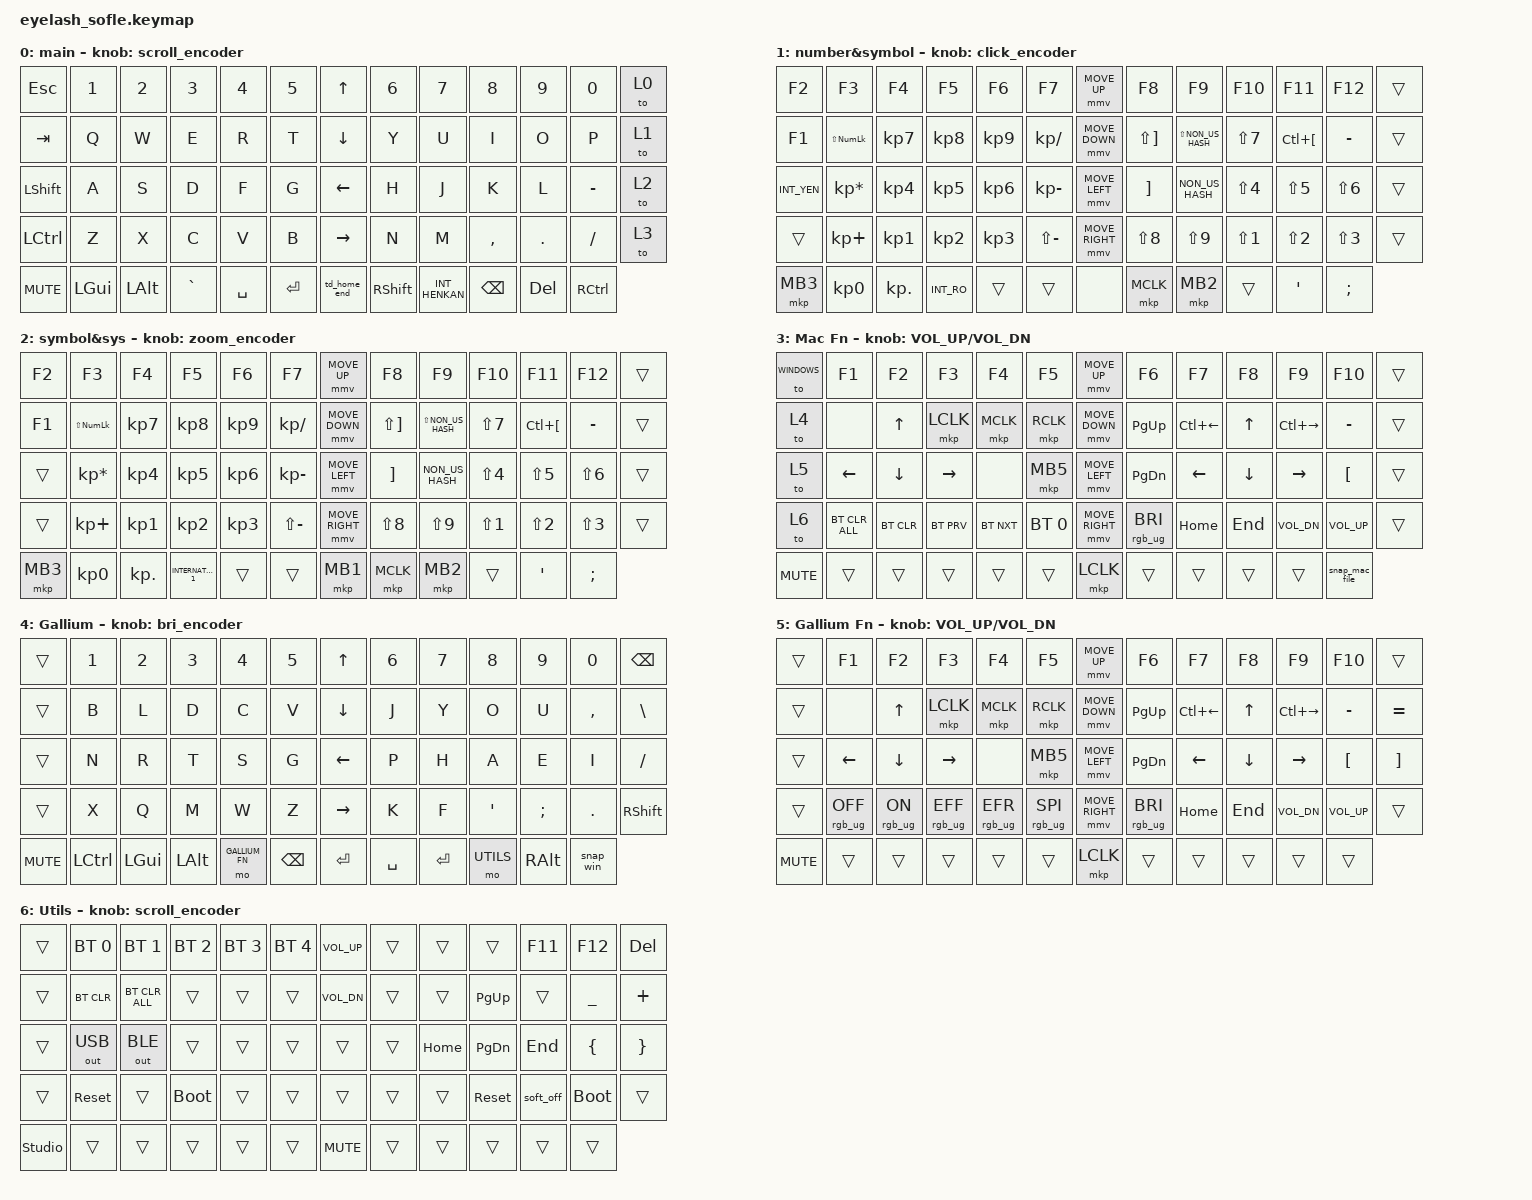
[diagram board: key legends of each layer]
#define ZMK_POINTING_DEFAULT_MOVE_VAL 1200  // 600
#define ZMK_POINTING_DEFAULT_SCRL_VAL 25   // 10

#include <input/processors.dtsi>
#include <zephyr/dt-bindings/input/input-event-codes.h>
#include <behaviors.dtsi>
#include <dt-bindings/zmk/bt.h>
#include <dt-bindings/zmk/keys.h>
#include <dt-bindings/zmk/outputs.h>
#include <dt-bindings/zmk/pointing.h>
#include <dt-bindings/zmk/rgb.h>

// Layer IDs

#define WINDOWS 0
#define WINDOWS_FN   1
#define MAC   2
#define MAC_FN   3
#define GALLIUM 4
#define GALLIUM_FN  5
#define UTILS 6

&mmv_input_listener { input-processors = <&zip_xy_scaler 2 1>; };

&msc_input_listener { input-processors = <&zip_scroll_scaler 2 1>; };

&msc {
    acceleration-exponent = <1>;      // 0
    time-to-max-speed-ms = <100>;     // 300
    delay-ms = <0>;                   // 0
};

&mmv {
    time-to-max-speed-ms = <500>;
    acceleration-exponent = <1>;
    trigger-period-ms = <16>;
};

&soft_off { hold-time-ms = <2000>; };

/ {
    scroll_encoder: scroll_encoder {
        compatible = "zmk,behavior-sensor-rotate";
        #sensor-binding-cells = <0>;
        bindings = <&msc SCRL_DOWN>, <&msc SCRL_UP>;

        tap-ms = <100>;
    };

    behaviors {
        winfn_mt: momentary_or_toggle_win_fn {
            // If held, momentary switch to layer 1 or double tap to toggle layer 1

            compatible = "zmk,behavior-tap-dance";
            #binding-cells = <0>;
            tapping-term-ms = <200>;
            bindings = <&mo WINDOWS_FN>, <&to WINDOWS_FN>;
        };

        macfn_mt: momentary_or_toggle_mac_fn {
            // If held, momentary switch to layer 3 or double tap to toggle layer 3

            compatible = "zmk,behavior-tap-dance";
            #binding-cells = <0>;
            tapping-term-ms = <200>;
            bindings = <&mo MAC_FN>, <&to MAC_FN>;
        };

        td_home_end: tap_dance_home_end {
            compatible = "zmk,behavior-tap-dance";
            #binding-cells = <0>;
            tapping-term-ms = <200>;
            bindings = <&kp HOME>, <&kp END>;
        };

        click_encoder: click_encoder {
            compatible = "zmk,behavior-sensor-rotate";
            #sensor-binding-cells = <0>;

            // 1つ目が反時計回り（左クリック）、2つ目が時計回り（右クリック）

            bindings = <&mkp RCLK>, <&mkp LCLK>;
        };

        bri_encoder: brightness_encoder {
            compatible = "zmk,behavior-sensor-rotate";
            #sensor-binding-cells = <0>;

            /* 1つ目が反時計回り（暗く）、2つ目が時計回り（明るく） */

            bindings = <&kp C_BRI_DN>, <&kp C_BRI_UP>;
        };

        zoom_encoder: zoom_encoder {
            compatible = "zmk,behavior-sensor-rotate";
            #sensor-binding-cells = <0>;

            /* 1つ目が反時計回り（縮小）、2つ目が時計回り（拡大） */

            bindings = <&kp LC(MINUS)>, <&kp LC(PLUS)>;
        };
    };

    combos {
        compatible = "zmk,combos";

        softoff {
            bindings = <&soft_off>;
            key-positions = <14 28 40>; // Keys Q, S, Z
        };
    };

    macros {
        snap_win: snapshot_win {
            compatible = "zmk,behavior-macro";
            #binding-cells = <0>;
            bindings =
                <&macro_press>,
                <&kp LEFT_WIN &kp LEFT_SHIFT>,
                <&macro_tap>,
                <&kp S>,
                <&macro_release>,
                <&kp LEFT_COMMAND &kp LEFT_SHIFT>;

            label = "SNAPSHOT_WIN";
        };

        snap_mac_clip: snapshot_mac_clip {
            compatible = "zmk,behavior-macro";
            #binding-cells = <0>;
            bindings =
                <&macro_press>,
                <&kp LEFT_COMMAND &kp LEFT_CONTROL &kp LEFT_SHIFT>,
                <&macro_tap>,
                <&kp NUMBER_4>,
                <&macro_release>,
                <&kp LEFT_COMMAND &kp LEFT_CONTROL &kp LEFT_SHIFT>;

            label = "SNAPSHOT_MAC_CLIP";
        };

        snap_mac_file: snapshot_mac_file {
            compatible = "zmk,behavior-macro";
            #binding-cells = <0>;
            bindings =
                <&macro_press>,
                <&kp LEFT_COMMAND &kp LEFT_SHIFT>,
                <&macro_tap>,
                <&kp NUMBER_4>,
                <&macro_release>,
                <&kp LEFT_COMMAND &kp LEFT_SHIFT>;

            label = "SNAPSHOT_MAC_FILE";
        };
    };

    // Bottom left key is the encoder click
    // Column 7 (middle column) is the joystick from the right half

    keymap {
        compatible = "zmk,keymap";

        //
        // Windows layout
        //

        layer_0 {
            bindings = <
&kp ESC           &kp N1        &kp N2        &kp N3     &kp N4     &kp N5       &kp UP        &kp N6           &kp N7          &kp N8         &kp N9      &kp N0     &to 0
&kp TAB           &kp Q         &kp W         &kp E      &kp R      &kp T        &kp DOWN      &kp Y            &kp U           &kp I          &kp O       &kp P      &to 1
&kp LEFT_SHIFT    &kp A         &kp S         &kp D      &kp F      &kp G        &kp LEFT      &kp H            &kp J           &kp K          &kp L       &kp MINUS  &to 2
&kp LEFT_CONTROL  &kp Z         &kp X         &kp C      &kp V      &kp B        &kp RIGHT     &kp N            &kp M           &kp COMMA      &kp DOT     &kp FSLH   &to 3
&kp C_MUTE        &kp LEFT_GUI  &kp LEFT_ALT  &kp GRAVE  &kp SPACE  &kp ENTER    &td_home_end  &kp RIGHT_SHIFT  &kp INT_HENKAN  &kp BACKSPACE  &kp DELETE  &kp RCTRL
            >;

            sensor-bindings = <&scroll_encoder>;
            display-name = "main";
        };

        layer_1 {
            bindings = <
&kp F2       &kp F3              &kp F4           &kp F5           &kp F6           &kp F7           &mmv MOVE_UP     &kp F8                 &kp F9               &kp F10           &kp F11               &kp F12           &trans
&kp F1       &kp LS(KP_NUMLOCK)  &kp KP_NUMBER_7  &kp KP_NUMBER_8  &kp KP_NUMBER_9  &kp KP_DIVIDE    &mmv MOVE_DOWN   &kp LS(RIGHT_BRACKET)  &kp LS(NON_US_HASH)  &kp LS(N7)        &kp LC(LEFT_BRACKET)  &kp MINUS         &trans
&kp INT_YEN  &kp KP_MULTIPLY     &kp KP_NUMBER_4  &kp KP_NUMBER_5  &kp KP_NUMBER_6  &kp KP_MINUS     &mmv MOVE_LEFT   &kp RIGHT_BRACKET      &kp NON_US_HASH      &kp LS(NUMBER_4)  &kp LS(N5)            &kp LS(NUMBER_6)  &trans
&trans       &kp KP_PLUS         &kp KP_NUMBER_1  &kp KP_NUMBER_2  &kp KP_NUMBER_3  &kp LS(MINUS)    &mmv MOVE_RIGHT  &kp LS(N8)             &kp LS(N9)           &kp LS(NUMBER_1)  &kp LS(NUMBER_2)      &kp LS(NUMBER_3)  &trans
&mkp MB3     &kp KP_NUMBER_0     &kp KP_DOT       &kp INT_RO       &trans           &trans           &none            &mkp MCLK              &mkp MB2             &trans            &kp SINGLE_QUOTE      &kp SEMICOLON
            >;

            display-name = "number&symbol";
            sensor-bindings = <&click_encoder>;
        };

        //
        // Mac layout
        //

        layer_2 {
            bindings = <
&kp F2    &kp F3              &kp F4           &kp F5               &kp F6           &kp F7           &mmv MOVE_UP     &kp F8                 &kp F9               &kp F10           &kp F11               &kp F12           &trans
&kp F1    &kp LS(KP_NUMLOCK)  &kp KP_NUMBER_7  &kp KP_NUMBER_8      &kp KP_NUMBER_9  &kp KP_DIVIDE    &mmv MOVE_DOWN   &kp LS(RIGHT_BRACKET)  &kp LS(NON_US_HASH)  &kp LS(N7)        &kp LC(LEFT_BRACKET)  &kp MINUS         &trans
&trans    &kp KP_MULTIPLY     &kp KP_NUMBER_4  &kp KP_NUMBER_5      &kp KP_NUMBER_6  &kp KP_MINUS     &mmv MOVE_LEFT   &kp RIGHT_BRACKET      &kp NON_US_HASH      &kp LS(NUMBER_4)  &kp LS(N5)            &kp LS(NUMBER_6)  &trans
&trans    &kp KP_PLUS         &kp KP_NUMBER_1  &kp KP_NUMBER_2      &kp KP_NUMBER_3  &kp LS(MINUS)    &mmv MOVE_RIGHT  &kp LS(N8)             &kp LS(N9)           &kp LS(NUMBER_1)  &kp LS(NUMBER_2)      &kp LS(NUMBER_3)  &trans
&mkp MB3  &kp KP_NUMBER_0     &kp KP_DOT       &kp INTERNATIONAL_1  &trans           &trans           &mkp MB1         &mkp MCLK              &mkp MB2             &trans            &kp SINGLE_QUOTE      &kp SEMICOLON
            >;

            sensor-bindings = <&zoom_encoder>;
            display-name = "symbol&sys";
        };

        layer_3 {
            bindings = <
&to WINDOWS  &kp F1          &kp F2      &kp F3      &kp F4      &kp F5          &mmv MOVE_UP     &kp F6           &kp F7        &kp F8    &kp F9         &kp F10           &trans
&to 4        &none           &kp UP      &mkp LCLK   &mkp MCLK   &mkp RCLK       &mmv MOVE_DOWN   &kp PG_UP        &kp LC(LEFT)  &kp UP    &kp LC(RIGHT)  &kp MINUS         &trans
&to 5        &kp LEFT        &kp DOWN    &kp RIGHT   &none       &mkp MB5        &mmv MOVE_LEFT   &kp PG_DN        &kp LEFT      &kp DOWN  &kp RIGHT      &kp LEFT_BRACKET  &trans
&to 6        &bt BT_CLR_ALL  &bt BT_CLR  &bt BT_PRV  &bt BT_NXT  &bt BT_SEL 0    &mmv MOVE_RIGHT  &rgb_ug RGB_BRI  &kp HOME      &kp END   &kp C_VOL_DN   &kp C_VOL_UP      &trans
&kp C_MUTE   &trans          &trans      &trans      &trans      &trans          &mkp LCLK        &trans           &trans        &trans    &trans         &snap_mac_file
            >;

            display-name = "Mac Fn";
            sensor-bindings = <&inc_dec_kp C_VOLUME_UP C_VOL_DN>;
        };

        //
        // Gallium layout for Windows
        //

        gallium {
            bindings = <
&trans      &kp N1     &kp N2        &kp N3        &kp N4          &kp N5           &kp UP_ARROW     &kp N6     &kp N7     &kp N8     &kp N9         &kp N0     &kp BACKSPACE
&trans      &kp B      &kp L         &kp D         &kp C           &kp V            &kp DOWN_ARROW   &kp J      &kp Y      &kp O      &kp U          &kp COMMA  &kp BSLH
&trans      &kp N      &kp R         &kp T         &kp S           &kp G            &kp LEFT_ARROW   &kp P      &kp H      &kp A      &kp E          &kp I      &kp FSLH
&trans      &kp X      &kp Q         &kp M         &kp W           &kp Z            &kp RIGHT_ARROW  &kp K      &kp F      &kp APOS   &kp SEMI       &kp DOT    &kp RIGHT_SHIFT
&kp C_MUTE  &kp LCTRL  &kp LEFT_GUI  &kp LEFT_ALT  &mo GALLIUM_FN  &kp BACKSPACE    &kp ENTER        &kp SPACE  &kp ENTER  &mo UTILS  &kp RIGHT_ALT  &snap_win
            >;

            sensor-bindings = <&bri_encoder>;
            display-name = "Gallium";
        };

        gallium_fn {
            bindings = <
&trans      &kp F1           &kp F2          &kp F3           &kp F4           &kp F5             &mmv MOVE_UP     &kp F6           &kp F7        &kp F8    &kp F9         &kp F10           &trans
&trans      &none            &kp UP          &mkp LCLK        &mkp MCLK        &mkp RCLK          &mmv MOVE_DOWN   &kp PG_UP        &kp LC(LEFT)  &kp UP    &kp LC(RIGHT)  &kp MINUS         &kp EQUAL
&trans      &kp LEFT         &kp DOWN        &kp RIGHT        &none            &mkp MB5           &mmv MOVE_LEFT   &kp PG_DN        &kp LEFT      &kp DOWN  &kp RIGHT      &kp LEFT_BRACKET  &kp RIGHT_BRACKET
&trans      &rgb_ug RGB_OFF  &rgb_ug RGB_ON  &rgb_ug RGB_EFF  &rgb_ug RGB_EFR  &rgb_ug RGB_SPI    &mmv MOVE_RIGHT  &rgb_ug RGB_BRI  &kp HOME      &kp END   &kp C_VOL_DN   &kp C_VOL_UP      &trans
&kp C_MUTE  &trans           &trans          &trans           &trans           &trans             &mkp LCLK        &trans           &trans        &trans    &trans         &trans
            >;

            sensor-bindings = <&inc_dec_kp C_VOLUME_UP C_VOL_DN>;
            display-name = "Gallium Fn";
        };

        utils {
            bindings = <
&trans          &bt BT_SEL 0  &bt BT_SEL 1    &bt BT_SEL 2  &bt BT_SEL 3  &bt BT_SEL 4    &kp C_VOL_UP  &trans  &trans    &trans      &kp F11    &kp F12      &kp DEL
&trans          &bt BT_CLR    &bt BT_CLR_ALL  &trans        &trans        &trans          &kp C_VOL_DN  &trans  &trans    &kp PG_UP   &trans     &kp UNDER    &kp PLUS
&trans          &out OUT_USB  &out OUT_BLE    &trans        &trans        &trans          &trans        &trans  &kp HOME  &kp PG_DN   &kp END    &kp LBRC     &kp RBRC
&trans          &sys_reset    &trans          &bootloader   &trans        &trans          &trans        &trans  &trans    &sys_reset  &soft_off  &bootloader  &trans
&studio_unlock  &trans        &trans          &trans        &trans        &trans          &kp C_MUTE    &trans  &trans    &trans      &trans     &trans
            >;

            display-name = "Utils";
            sensor-bindings = <&scroll_encoder>;
        };
    };
};
